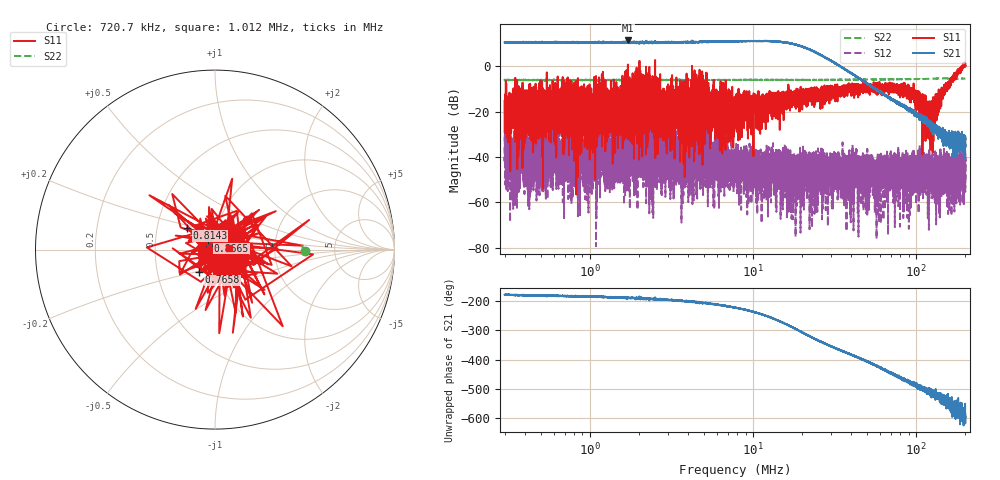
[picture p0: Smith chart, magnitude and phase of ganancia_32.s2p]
# Hz S DB R 50
! CMT, M5065, 19127446, 24.2.4/2
! Date: 11/1/2024 3:31:53 PM
! Data: Format (Calibration Info)
! Freq	S11:dB/Ang(F2)	S21:dB/Ang(F2)	S12:dB/Ang(F2)	S22:dB/Ang(F2)
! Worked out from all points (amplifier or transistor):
!   9000 points, 300 kHz to 200 MHz, reference 50 ohm
!   highest |S21| = 11.4 dB at 1.709 MHz (marker M1)
!   |S21| within 3 dB of that: start of sweep to 20.26 MHz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
!   unconditionally stable (mu >= 1): start of sweep to 1.708 MHz; 2.51 MHz to 4.221 MHz; 4.748 MHz to 190.4 MHz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
!   at 886.8 kHz: K = 15.40, MAG = 11.9 dB, |S12| = -43.0 dB
!   at 7.749 MHz: K = 11.01, MAG = 12.3 dB, |S12| = -40.4 dB
!   at 200 MHz: K = -1684.30, MSG = 7.9 dB, |S12| = -50.2 dB
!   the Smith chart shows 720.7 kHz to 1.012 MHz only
!   S11 on the Smith chart (normalised r, x): 720.7 kHz: 1.34, +0.47; 765.8 kHz: 0.81, -0.21; 814.3 kHz: 0.71, +0.18; 866.5 kHz: 0.92, +0.09; 1.012 MHz: 1.17, +0.02
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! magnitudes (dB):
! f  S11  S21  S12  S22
! 300 kHz  -15.2  10.6  -39.9  -6.1
! 319 kHz  -25.3  10.7  -36.7  -6.0
! 720.7 kHz  -12.3  10.5  -36.3  -6.0
! 765.8 kHz  -16.2  10.7  -43.5  -6.1
! 814.3 kHz  -14.1  10.7  -37.3  -6.0
! 866.5 kHz  -23.9  10.7  -37.9  -6.0
! 886.8 kHz  -15.7  10.5  -43.0  -6.0
! 1.012 MHz  -22.0  10.6  -34.2  -6.0
! 1.182 MHz  -13.0  10.6  -29.6  -5.9
! 1.399 MHz  -32.2  10.6  -28.6  -6.0
! 1.709 MHz  0.8  11.4  -36.3  -6.1
! 2.621 MHz  -13.6  10.5  -39.2  -6.1
! 4.94 MHz  -16.5  10.8  -36.7  -6.0
! 7.749 MHz  -25.3  11.0  -40.4  -6.0
! 18.1 MHz  -10.8  9.6  -52.6  -6.0
! 20.69 MHz  -13.3  8.3  -45.1  -6.0
! 22.91 MHz  -12.8  6.8  -41.3  -6.0
! 67.71 MHz  -9.2  -13.6  -46.9  -5.7
! 95.16 MHz  -14.4  -19.5  -53.7  -5.7
! 123.5 MHz  -24.6  -25.7  -39.8  -5.4
! 145.2 MHz  -11.5  -31.7  -44.4  -5.3
! 200 MHz  1.1  -34.4  -50.2  -5.4
